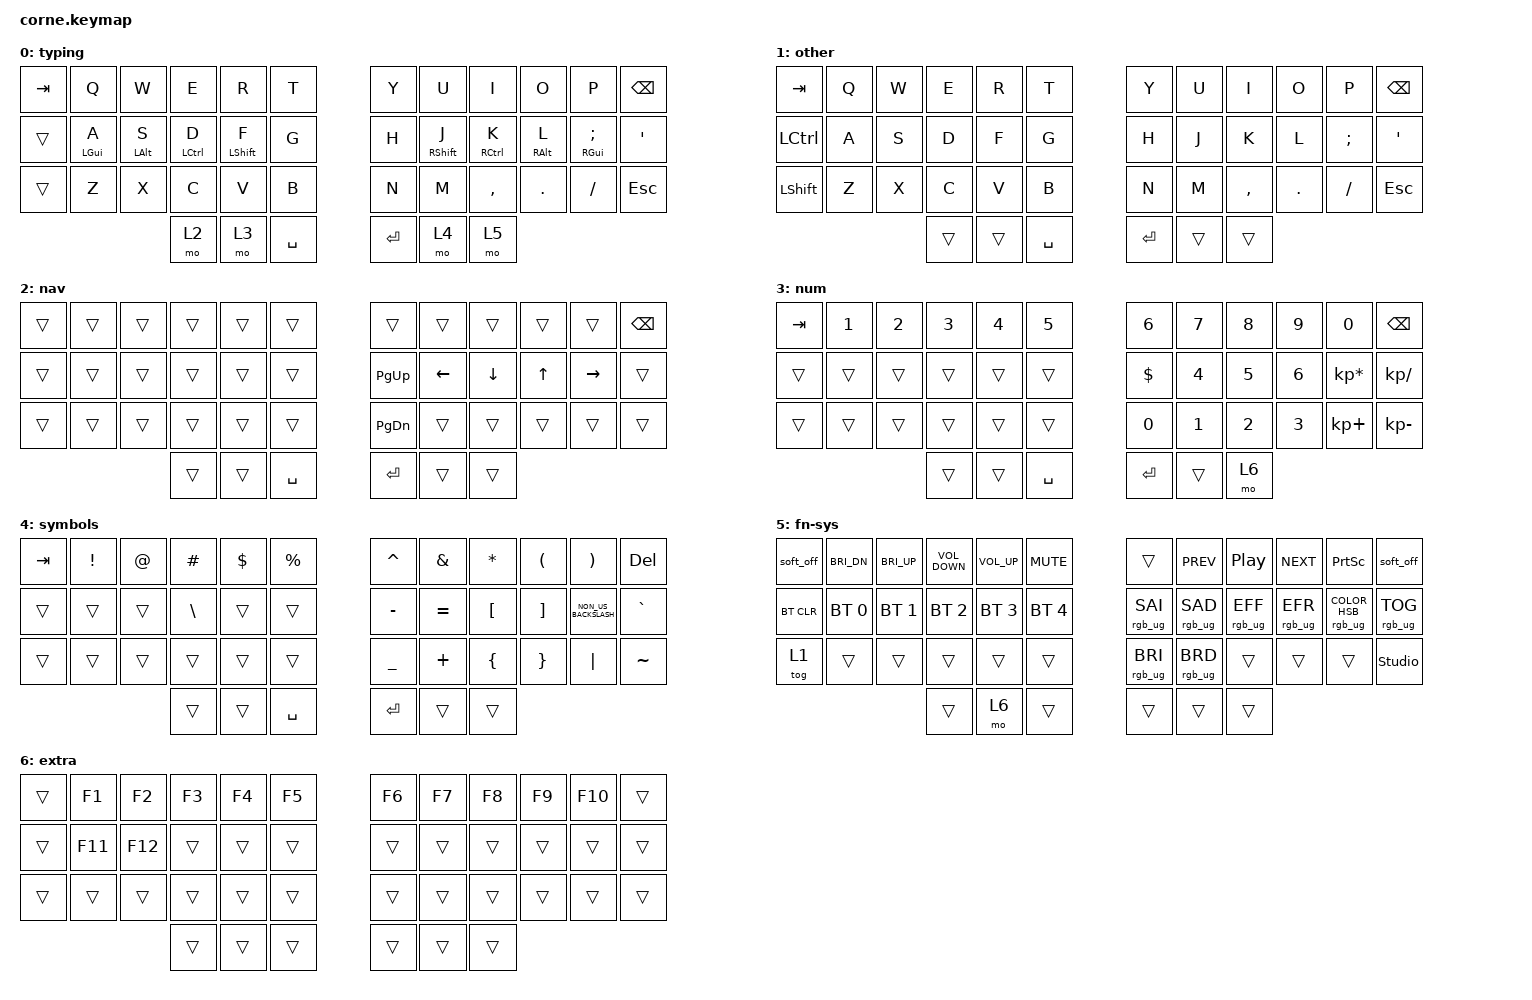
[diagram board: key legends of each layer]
/*
 * Copyright (c) 2020 The ZMK Contributors
 *
 * SPDX-License-Identifier: MIT
 */

#include <behaviors.dtsi>
#include <dt-bindings/zmk/bt.h>
#include <dt-bindings/zmk/keys.h>
#include <dt-bindings/zmk/rgb.h>

&led_strip { chain-length = <27>; };

/ {
    behaviors {
        hml: hml {
            compatible = "zmk,behavior-hold-tap";
            label = "home-mod-left";
            bindings = <&kp>, <&kp>;

            #binding-cells = <2>;
            tapping-term-ms = <200>;
            quick-tap-ms = <175>;
            require-prior-idle-ms = <250>;
            flavor = "balanced";
            hold-trigger-on-release;
            hold-trigger-key-positions = <6 7 8 9 10 11 18 19 20 21 22 23 30 31 32 33 34 35 39 40 41>;
        };

        hmr: hmr {
            compatible = "zmk,behavior-hold-tap";
            label = "home-mod-right";
            bindings = <&kp>, <&kp>;

            #binding-cells = <2>;
            tapping-term-ms = <200>;
            quick-tap-ms = <175>;
            require-prior-idle-ms = <250>;
            flavor = "balanced";
            hold-trigger-on-release;
            hold-trigger-key-positions = <0 1 2 4 5 12 13 14 15 16 17 24 25 26 27 28 29 36 37 38 3>;
        };
    };

    keymap {
        compatible = "zmk,keymap";

        typing {
            bindings = <
&kp TAB  &kp Q            &kp W            &kp E                &kp R              &kp T        &kp Y    &kp U               &kp I                 &kp O             &kp P                     &kp BSPC
&trans   &hml LEFT_GUI A  &hml LEFT_ALT S  &hml LEFT_CONTROL D  &hml LEFT_SHIFT F  &kp G        &kp H    &hmr RIGHT_SHIFT J  &hmr RIGHT_CONTROL K  &hmr RIGHT_ALT L  &hmr RIGHT_GUI SEMICOLON  &kp SQT
&trans   &kp Z            &kp X            &kp C                &kp V              &kp B        &kp N    &kp M               &kp COMMA             &kp DOT           &kp FSLH                  &kp ESC
                                           &mo 2                &mo 3              &kp SPACE    &kp RET  &mo 4               &mo 5
            >;
        };

        other {
            bindings = <
&kp TAB           &kp Q  &kp W  &kp E   &kp R   &kp T        &kp Y    &kp U   &kp I      &kp O    &kp P     &kp BSPC
&kp LEFT_CONTROL  &kp A  &kp S  &kp D   &kp F   &kp G        &kp H    &kp J   &kp K      &kp L    &kp SEMI  &kp SQT
&kp LEFT_SHIFT    &kp Z  &kp X  &kp C   &kp V   &kp B        &kp N    &kp M   &kp COMMA  &kp DOT  &kp FSLH  &kp ESC
                                &trans  &trans  &kp SPACE    &kp RET  &trans  &trans
            >;
        };

        nav {
            bindings = <
&trans  &trans  &trans  &trans  &trans  &trans       &trans         &trans    &trans    &trans        &trans     &kp BSPC
&trans  &trans  &trans  &trans  &trans  &trans       &kp PAGE_UP    &kp LEFT  &kp DOWN  &kp UP_ARROW  &kp RIGHT  &trans
&trans  &trans  &trans  &trans  &trans  &trans       &kp PAGE_DOWN  &trans    &trans    &trans        &trans     &trans
                        &trans  &trans  &kp SPACE    &kp RET        &trans    &trans
            >;
        };

        num {
            bindings = <
&kp TAB  &kp N1  &kp N2  &kp N3  &kp N4  &kp N5       &kp N6      &kp N7        &kp N8        &kp N9        &kp N0           &kp BSPC
&trans   &trans  &trans  &trans  &trans  &trans       &kp DOLLAR  &kp NUMBER_4  &kp N5        &kp NUMBER_6  &kp KP_MULTIPLY  &kp KP_DIVIDE
&trans   &trans  &trans  &trans  &trans  &trans       &kp N0      &kp NUMBER_1  &kp NUMBER_2  &kp NUMBER_3  &kp KP_PLUS      &kp KP_SUBTRACT
                         &trans  &trans  &kp SPACE    &kp RET     &trans        &mo 6
            >;
        };

        symbols {
            bindings = <
&kp TAB  &kp EXCL  &kp AT  &kp HASH       &kp DLLR  &kp PRCNT    &kp CARET  &kp AMPS   &kp ASTRK  &kp LPAR  &kp RPAR              &kp DELETE
&trans   &trans    &trans  &kp BACKSLASH  &trans    &trans       &kp MINUS  &kp EQUAL  &kp LBKT   &kp RBKT  &kp NON_US_BACKSLASH  &kp GRAVE
&trans   &trans    &trans  &trans         &trans    &trans       &kp UNDER  &kp PLUS   &kp LBRC   &kp RBRC  &kp PIPE              &kp TILDE
                           &trans         &trans    &kp SPACE    &kp RET    &trans     &trans
            >;
        };

        fn-sys {
            bindings = <
&soft_off   &kp C_BRI_DN  &kp C_BRI_UP  &kp C_VOLUME_DOWN  &kp C_VOLUME_UP  &kp K_MUTE      &trans           &kp C_PREV       &kp C_PLAY_PAUSE  &kp C_NEXT       &kp PRINTSCREEN                 &soft_off
&bt BT_CLR  &bt BT_SEL 0  &bt BT_SEL 1  &bt BT_SEL 2       &bt BT_SEL 3     &bt BT_SEL 4    &rgb_ug RGB_SAI  &rgb_ug RGB_SAD  &rgb_ug RGB_EFF   &rgb_ug RGB_EFR  &rgb_ug RGB_COLOR_HSB(0,0,100)  &rgb_ug RGB_TOG
&tog 1      &trans        &trans        &trans             &trans           &trans          &rgb_ug RGB_BRI  &rgb_ug RGB_BRD  &trans            &trans           &trans                          &studio_unlock
                                        &trans             &mo 6            &trans          &trans           &trans           &trans
            >;
        };

        extra {
            bindings = <
&trans  &kp F1   &kp F2   &kp F3  &kp F4  &kp F5    &kp F6  &kp F7  &kp F8  &kp F9  &kp F10  &trans
&trans  &kp F11  &kp F12  &trans  &trans  &trans    &trans  &trans  &trans  &trans  &trans   &trans
&trans  &trans   &trans   &trans  &trans  &trans    &trans  &trans  &trans  &trans  &trans   &trans
                          &trans  &trans  &trans    &trans  &trans  &trans
            >;
        };
    };
};
